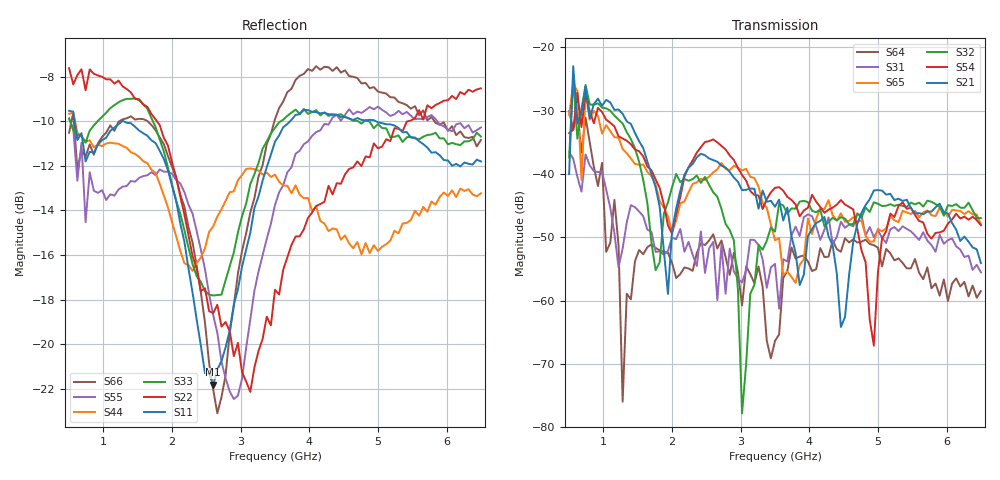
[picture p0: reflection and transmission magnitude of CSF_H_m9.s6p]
!Keysight Technologies,M9804A,MY58100912,A.14.10.03
!Date: Thursday, April 27, 2023 10:28:33
!Correction: S11(C  6-Port  )
!S12(C  6-Port  )
!S13(C  6-Port  )
!S14(C  6-Port  )
!S15(C  6-Port  )
!S16(C  6-Port  )
!S21(C  6-Port  )
!S22(C  6-Port  )
!S23(C  6-Port  )
!S24(C  6-Port  )
!S25(C  6-Port  )
!S26(C  6-Port  )
!S31(C  6-Port  )
!S32(C  6-Port  )
!S33(C  6-Port  )
!S34(C  6-Port  )
!S35(C  6-Port  )
!S36(C  6-Port  )
!S41(C  6-Port  )
!S42(C  6-Port  )
!S43(C  6-Port  )
!S44(C  6-Port  )
!S45(C  6-Port  )
!S46(C  6-Port  )
!S51(C  6-Port  )
!S52(C  6-Port  )
!S53(C  6-Port  )
!S54(C  6-Port  )
!S55(C  6-Port  )
!S56(C  6-Port  )
!S61(C  6-Port  )
!S62(C  6-Port  )
!S63(C  6-Port  )
!S64(C  6-Port  )
!S65(C  6-Port  )
!S66(C  6-Port  )
!S6P File: Measurement: :
# Hz S  RI  R 50
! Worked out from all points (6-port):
!   101 points, 500 MHz to 6.5 GHz, reference 50 ohm
!   strongest paths, dB at 500 MHz, 2 GHz, 3.5 GHz, 5 GHz, 6.5 GHz:
!     S21: -40.0, -48.9, -45.2, -42.5, -54.1
!     S54: -33.5, -49.4, -42.2, -55.5, -48.1
!     S32: -37.4, -42.1, -49.1, -44.7, -47.0
!     S65: -30.7, -49.1, -50.5, -48.7, -48.0
!     S31: -36.5, -50.1, -54.2, -48.9, -55.5
!     S64: -30.1, -54.0, -66.4, -51.6, -58.5
!   lowest |S11| = -21.8 dB at 2.6 GHz (marker M1), VSWR 1.18, Z = 42.7 + j1.89 ohm
!   |S11| at or under -10 dB: 580.4 MHz to 1.27 GHz (689.9 MHz wide, 74.6 % of centre); 1.296 GHz to 3.719 GHz (2.422 GHz wide, 96.6 % of centre); 4.971 GHz to end of sweep
